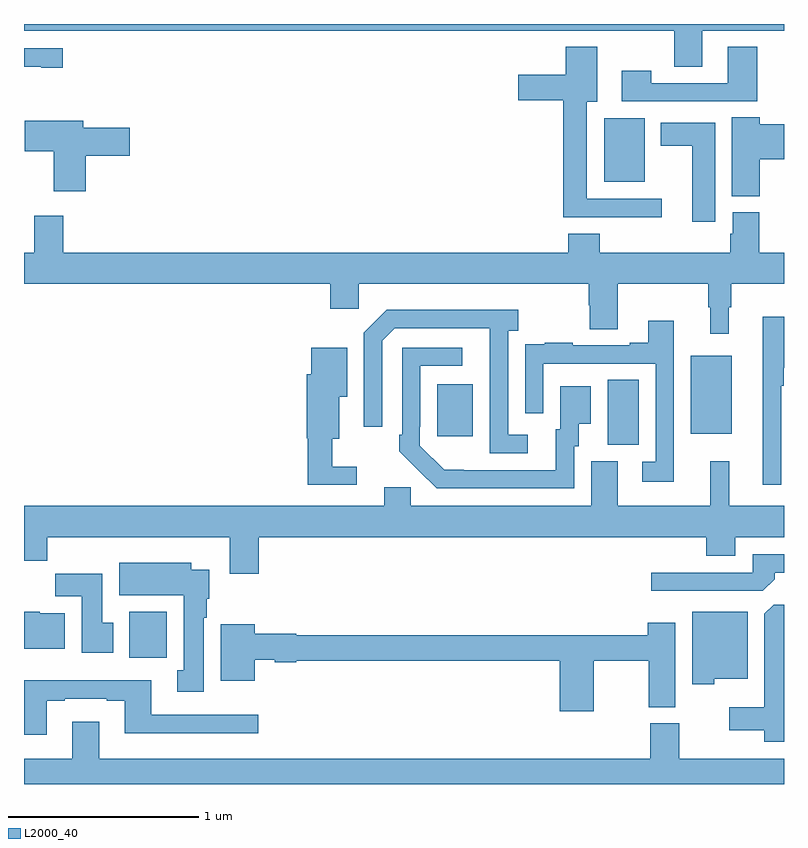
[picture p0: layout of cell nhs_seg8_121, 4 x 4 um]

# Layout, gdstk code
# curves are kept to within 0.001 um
import gdstk
lib = gdstk.Library(unit=1e-6, precision=1e-09)
def R(c, l, rs):  # rectangles x0, y0, x1, y1
    for r in rs: c.add(gdstk.rectangle(r[:2], r[2:], *l))
def P(c, l, *ps):  # polygons
    for p in ps: c.add(gdstk.Polygon(p, *l))
L2000_40 = (2000, 40)

nhs_seg8_121 = lib.new_cell('nhs_seg8_121')
R(nhs_seg8_121, L2000_40, [(119.555,1082.564,119.752,1082.806), (122.072,1083.685,122.236,1084.028), (121.175,1083.729,121.363,1084.003), (122.51,1083.743,122.725,1084.153), (122.054,1085.069,122.266,1085.404)])
P(nhs_seg8_121, L2000_40, [(122.569,1085.864),(123,1085.864),(123,1085.9),(119,1085.9),(119,1085.864),(122.422,1085.864),(122.422,1085.674),(122.569,1085.674)],
  [(122.356,1084.98),(121.963,1084.98),(121.963,1085.492),(122.017,1085.492),(122.017,1085.779),(121.85,1085.779),(121.85,1085.632),(121.602,1085.632),(121.602,1085.498),(121.838,1085.498),(121.838,1084.883),(122.356,1084.883)],
  [(122.858,1085.779),(122.705,1085.779),(122.705,1085.589),(122.301,1085.589),(122.301,1085.653),(122.145,1085.653),(122.145,1085.493),(122.858,1085.493)],
  [(119.203,1085.772),(119,1085.772),(119,1085.676),(119.09,1085.676),(119.09,1085.671),(119.203,1085.671)],
  [(122.873,1085.189),(123,1085.189),(123,1085.372),(122.873,1085.372),(122.873,1085.408),(122.726,1085.408),(122.726,1084.993),(122.873,1084.993)],
  [(119.324,1085.207),(119.557,1085.207),(119.557,1085.354),(119.311,1085.354),(119.311,1085.392),(119.004,1085.392),(119.004,1085.23),(119.156,1085.23),(119.156,1085.019),(119.324,1085.019)],
  [(122.638,1085.38),(122.351,1085.38),(122.351,1085.258),(122.516,1085.258),(122.516,1084.86),(122.638,1084.86)],
  [(121.865,1084.795),(121.865,1084.696),(119.207,1084.696),(119.207,1084.891),(119.054,1084.891),(119.054,1084.696),(119,1084.696),(119,1084.532),(120.611,1084.532),(120.611,1084.401),(120.762,1084.401),(120.762,1084.532),(121.973,1084.532),(121.973,1084.419),(121.978,1084.419),(121.978,1084.294),(122.125,1084.294),(122.125,1084.532),(122.601,1084.532),(122.601,1084.409),(122.612,1084.409),(122.612,1084.269),(122.71,1084.269),(122.71,1084.409),(122.722,1084.409),(122.722,1084.532),(123,1084.532),(123,1084.696),(122.87,1084.696),(122.87,1084.908),(122.729,1084.908),(122.729,1084.797),(122.717,1084.797),(122.717,1084.696),(122.03,1084.696),(122.03,1084.795)],
  [(121.651,1083.738),(121.548,1083.738),(121.548,1084.286),(121.6,1084.286),(121.6,1084.396),(120.91,1084.396),(120.789,1084.275),(120.789,1083.78),(120.885,1083.78),(120.885,1084.233),(120.951,1084.299),(121.451,1084.299),(121.452,1083.642),(121.651,1083.642)],
  [(122.985,1083.995),(122.998,1083.995),(122.998,1084.091),(123,1084.091),(123,1084.36),(122.888,1084.36),(122.888,1083.474),(122.985,1083.474)],
  [(122.421,1084.339),(122.285,1084.339),(122.285,1084.222),(122.189,1084.222),(122.189,1084.209),(121.889,1084.209),(121.889,1084.222),(121.741,1084.222),(121.741,1084.215),(121.639,1084.215),(121.639,1084.106),(121.638,1084.106),(121.638,1083.852),(121.734,1083.852),(121.734,1084.113),(122.325,1084.113),(122.325,1083.597),(122.253,1083.597),(122.253,1083.492),(122.421,1083.492)],
  [(121.896,1083.678),(121.921,1083.678),(121.921,1083.797),(121.984,1083.797),(121.984,1083.994),(121.823,1083.994),(121.823,1083.768),(121.799,1083.768),(121.799,1083.552),(121.212,1083.553),(121.083,1083.681),(121.083,1083.781),(121.086,1083.781),(121.086,1084.101),(121.306,1084.101),(121.306,1084.197),(120.99,1084.197),(120.99,1083.739),(120.975,1083.739),(120.975,1083.651),(121.172,1083.456),(121.896,1083.456)],
  [(120.751,1083.571),(120.622,1083.571),(120.622,1083.716),(120.658,1083.716),(120.658,1083.938),(120.7,1083.938),(120.7,1084.195),(120.512,1084.195),(120.512,1084.056),(120.488,1084.056),(120.488,1083.72),(120.493,1083.72),(120.493,1083.474),(120.751,1083.474)],
  [(120.236,1083.2),(122.591,1083.2),(122.591,1083.101),(122.743,1083.101),(122.743,1083.2),(123,1083.2),(123,1083.364),(122.711,1083.364),(122.711,1083.598),(122.612,1083.598),(122.612,1083.364),(122.125,1083.364),(122.125,1083.6),(121.985,1083.6),(121.985,1083.364),(121.035,1083.364),(121.035,1083.462),(120.896,1083.462),(120.896,1083.364),(119,1083.364),(119,1083.076),(119.123,1083.076),(119.123,1083.2),(120.083,1083.2),(120.083,1083.006),(120.236,1083.006)],
  [(122.951,1082.978),(122.951,1083.012),(123,1083.012),(123,1083.108),(122.835,1083.108),(122.835,1083.012),(122.301,1083.012),(122.301,1082.916),(122.889,1082.916)],
  [(119.947,1082.774),(119.962,1082.774),(119.962,1082.874),(119.974,1082.874),(119.974,1083.028),(119.881,1083.028),(119.881,1083.064),(119.501,1083.064),(119.501,1082.894),(119.84,1082.894),(119.84,1082.498),(119.807,1082.498),(119.807,1082.385),(119.947,1082.385)],
  [(119.47,1082.748),(119.413,1082.748),(119.413,1083.006),(119.164,1083.006),(119.164,1082.888),(119.303,1082.888),(119.303,1082.592),(119.47,1082.592)],
  [(123,1082.844),(122.946,1082.844),(122.897,1082.795),(122.897,1082.305),(122.712,1082.305),(122.712,1082.183),(122.897,1082.183),(122.897,1082.123),(123,1082.123)],
  [(119.215,1082.8),(119.082,1082.8),(119.082,1082.806),(119,1082.806),(119,1082.612),(119.215,1082.612)],
  [(122.634,1082.453),(122.809,1082.453),(122.809,1082.806),(122.516,1082.806),(122.516,1082.426),(122.634,1082.426)],
  [(121.998,1082.548),(122.287,1082.548),(122.287,1082.305),(122.428,1082.305),(122.428,1082.749),(122.282,1082.749),(122.282,1082.684),(120.432,1082.684),(120.432,1082.692),(120.214,1082.692),(120.214,1082.74),(120.035,1082.74),(120.035,1082.444),(120.214,1082.444),(120.214,1082.555),(120.321,1082.555),(120.321,1082.54),(120.432,1082.54),(120.432,1082.548),(121.82,1082.548),(121.82,1082.283),(121.998,1082.283)],
  [(119.119,1082.337),(119.215,1082.337),(119.215,1082.349),(119.435,1082.349),(119.435,1082.337),(119.531,1082.337),(119.531,1082.168),(120.232,1082.168),(120.232,1082.265),(119.671,1082.265),(119.671,1082.446),(119,1082.446),(119,1082.16),(119.119,1082.16)],
  [(123,1082.032),(122.449,1082.032),(122.449,1082.22),(122.297,1082.22),(122.297,1082.032),(119.395,1082.032),(119.395,1082.227),(119.255,1082.227),(119.255,1082.032),(119,1082.032),(119,1081.9),(123,1081.9)])

lib.write_gds('nhs_seg8_121.gds')
